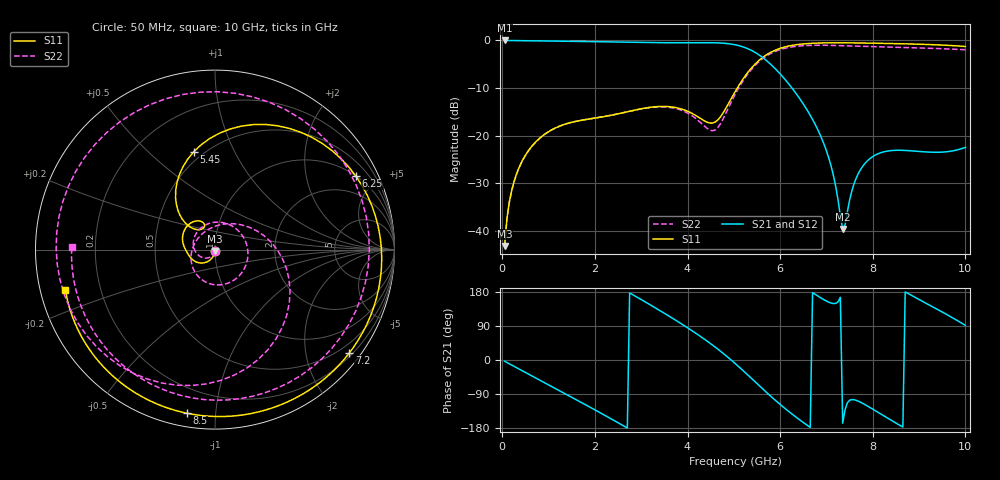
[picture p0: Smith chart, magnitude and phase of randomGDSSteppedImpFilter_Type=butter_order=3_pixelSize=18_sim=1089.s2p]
! freq	dB(S11)	phase(S11)	dB(S12)	phase(S12)
!  dB(S21)	phase(S21)	dB(S22)	phase(S22)
!S-par simulation data
#  GHz  S  DB  R 50
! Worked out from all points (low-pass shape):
!   200 points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, 50 MHz to 10 GHz, reference 50 ohm
!   highest |S21| = -0.01 dB at 50 MHz (marker M1); lowest = -39.6 dB at 7.35 GHz (marker M2)
!   |S21| within 3 dB of the highest: start of sweep to 5.539 GHz
!   lowest |S11| = -43.1 dB at 50 MHz (marker M3), VSWR 1.01, Z = 50 - j0.696 ohm
!   |S11| at or under -10 dB: start of sweep to 5.074 GHz
!   |S22| runs from -43.2 to -1.0 dB; largest |S21 - S12| = 0
!   S11 on the Smith chart (normalised r, x): 50 MHz: 1.00, -0.01; 5.45 GHz: 0.44, +0.71; 6.25 GHz: 1.02, +3.84; 7.2 GHz: 0.27, -2.92; 8.5 GHz: 0.07, -0.84; 10 GHz: 0.07, -0.13
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0.05  -43.14 -86.6  -0.01 -3.3  -0.01 -3.3  -43.18 -88.2
0.2  -31.61 -99.0  -0.03 -13.2  -0.03 -13.2  -31.65 -105.6
0.5  -24.09 -114.7  -0.06 -32.8  -0.06 -32.8  -24.13 -131.7
1.15  -18.36 -143.8  -0.16 -75.2  -0.16 -75.2  -18.37 171.7
1.75  -16.69 -164.6  -0.23 -114.8  -0.23 -114.8  -16.68 113.4
2.6  -15.20 173.8  -0.35 -172.5  -0.35 -172.5  -15.20 20.3
3.4  -13.86 144.3  -0.47 130.6  -0.47 130.6  -13.95 -62.7
3.85  -14.34 124.0  -0.50 96.8  -0.50 96.8  -14.59 -108.7
4.25  -16.19 112.9  -0.48 64.7  -0.48 64.7  -16.97 -160.7
4.6  -17.12 127.0  -0.50 33.8  -0.50 33.8  -18.77 117.4
5.05  -10.39 133.2  -0.96 -11.5  -0.96 -11.5  -10.92 15.7
5.45  -5.06 102.2  -2.46 -56.5  -2.46 -56.5  -5.33 -42.4
5.85  -2.24 63.3  -5.51 -101.4  -5.51 -101.4  -2.50 -93.7
6.25  -1.06 27.4  -9.93 -142.0  -9.93 -142.0  -1.37 -140.7
6.7  -0.60 -6.5  -16.59 177.9  -16.59 177.9  -1.03 168.2
7.2  -0.50 -37.6  -30.65 149.4  -30.65 149.4  -1.07 108.2
7.35  -0.50 -45.9  -39.58 -166.7  -39.58 -166.7  -1.11 89.1
7.85  -0.56 -71.1  -25.61 -119.0  -25.61 -119.0  -1.26 24.6
8.35  -0.65 -93.5  -23.17 -155.7  -23.17 -155.7  -1.38 -34.7
8.5  -0.68 -99.9  -23.06 -166.4  -23.06 -166.4  -1.41 -50.7
9.1  -0.83 -124.8  -23.38 153.1  -23.38 153.1  -1.59 -107.4
10  -1.28 -164.9  -22.46 91.4  -22.46 91.4  -1.95 179.1
